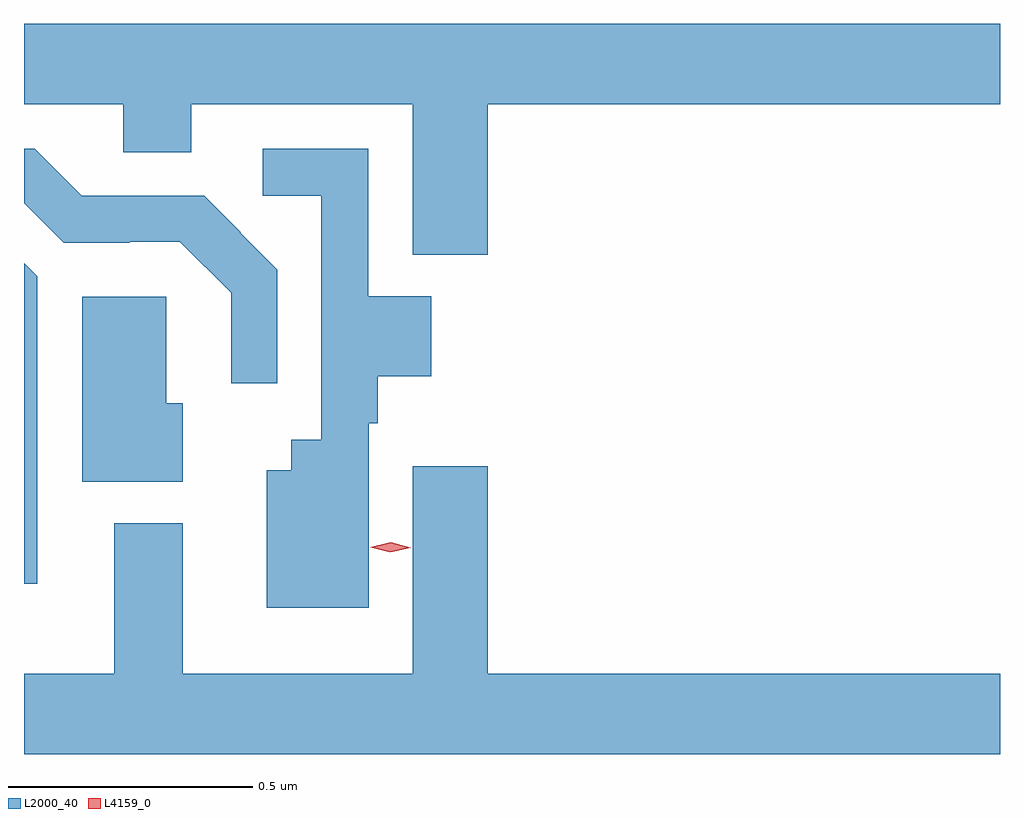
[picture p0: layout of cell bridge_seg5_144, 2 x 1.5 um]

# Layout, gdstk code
import gdstk
lib = gdstk.Library(unit=1e-6, precision=1e-09)
def P(c, l, *ps):  # polygons
    for p in ps: c.add(gdstk.Polygon(p, *l))
L2000_40 = (2000, 40)
L4159_0 = (4159, 0)

bridge_seg5_144 = lib.new_cell('bridge_seg5_144')
P(bridge_seg5_144, L2000_40, [(163.445,880.736),(164.495,880.736),(164.495,880.9),(162.495,880.9),(162.495,880.736),(162.698,880.736),(162.698,880.637),(162.838,880.637),(162.838,880.736),(163.292,880.736),(163.292,880.427),(163.445,880.427)],
  [(163.201,880.082),(163.22,880.082),(163.22,880.178),(163.33,880.178),(163.33,880.342),(163.2,880.342),(163.2,880.644),(162.984,880.644),(162.984,880.548),(163.104,880.548),(163.104,880.048),(163.043,880.048),(163.043,879.985),(162.992,879.985),(162.992,879.704),(163.201,879.704)],
  [(163.014,880.396),(162.938,880.472),(162.939,880.473),(162.864,880.548),(162.613,880.548),(162.517,880.644),(162.495,880.644),(162.495,880.533),(162.576,880.452),(162.712,880.452),(162.712,880.454),(162.814,880.454),(162.92,880.349),(162.92,880.164),(163.014,880.164)],
  [(162.522,880.383),(162.495,880.41),(162.495,879.753),(162.522,879.753)],
  [(162.82,880.123),(162.787,880.123),(162.787,880.341),(162.614,880.341),(162.614,879.962),(162.82,879.962)],
  [(164.495,879.568),(163.445,879.568),(163.445,879.994),(163.292,879.994),(163.292,879.568),(162.82,879.568),(162.82,879.877),(162.68,879.877),(162.68,879.568),(162.495,879.568),(162.495,879.404),(164.495,879.404)])
P(bridge_seg5_144, L4159_0, [(163.246,879.817),(163.205,879.828),(163.205,879.828),(163.205,879.828),(163.247,879.838),(163.288,879.827),(163.288,879.827),(163.288,879.827)])

lib.write_gds('bridge_seg5_144.gds')
